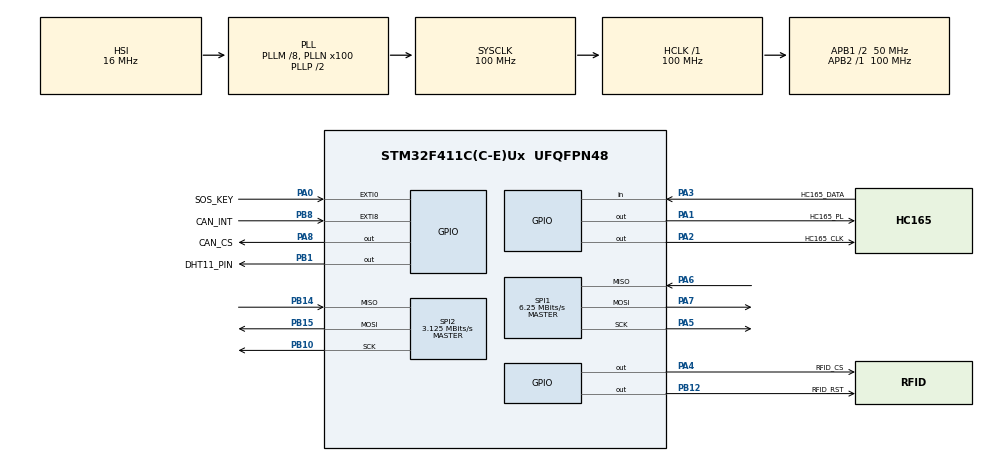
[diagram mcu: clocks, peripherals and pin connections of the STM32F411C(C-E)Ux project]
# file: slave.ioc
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FREERTOS.BinarySemaphores01=sosSem,Dynamic,NULL,Available
FREERTOS.Mutexes01=canSpiMutex,Dynamic,NULL,Available
FREERTOS.Tasks01=SOS_Alert,48,256,StartSosAlertTask,Default,NULL,Dynamic,NULL,NULL;Seat_Read,32,384,StartSeatReadTask,Default,NULL,Dynamic,NULL,NULL;RFID_Read,24,512,StartRfidTask,Default,NULL,Dynamic,NULL,NULL;DHT11_Read,16,256,StartDht11Task,Default,NULL,Dynamic,NULL,NULL;Heartbeat_Send,8,256,StartHeartbeatTask,Default,NULL,Dynamic,NULL,NULL
FREERTOS.configTOTAL_HEAP_SIZE=\ 20480
Mcu.Family=STM32F4
Mcu.Name=STM32F411C(C-E)Ux
Mcu.Package=UFQFPN48
NVIC.EXTI0_IRQn=true\:5\:0\:false\:false\:true\:true\:true\:true\:true
NVIC.EXTI9_5_IRQn=true\:5\:0\:false\:false\:true\:true\:true\:true\:true
NVIC.PriorityGroup=NVIC_PRIORITYGROUP_4
NVIC.TIM1_UP_TIM10_IRQn=true\:15\:0\:false\:false\:true\:false\:false\:true\:true
NVIC.TimeBase=TIM1_UP_TIM10_IRQn
NVIC.TimeBaseIP=TIM1
PA0-WKUP.GPIO_Label=SOS_KEY
PA0-WKUP.GPIO_ModeDefaultEXTI=GPIO_MODE_IT_FALLING
PA0-WKUP.GPIO_PuPd=GPIO_PULLUP
PA0-WKUP.Signal=GPXTI0
PA1.GPIO_Label=HC165_PL
PA1.Signal=GPIO_Output
PA13.Mode=Serial_Wire
PA13.Signal=SYS_JTMS-SWDIO
PA14.Mode=Serial_Wire
PA14.Signal=SYS_JTCK-SWCLK
PA2.GPIO_Label=HC165_CLK
PA2.Signal=GPIO_Output
PA3.GPIO_Label=HC165_DATA
PA3.GPIO_PuPd=GPIO_PULLUP
PA3.Signal=GPIO_Input
PA4.GPIO_Label=RFID_CS
PA4.PinState=GPIO_PIN_SET
PA4.Signal=GPIO_Output
PA5.Mode=Full_Duplex_Master
PA5.Signal=SPI1_SCK
PA6.Mode=Full_Duplex_Master
PA6.Signal=SPI1_MISO
PA7.Mode=Full_Duplex_Master
PA7.Signal=SPI1_MOSI
PA8.GPIO_Label=CAN_CS
PA8.GPIO_Speed=GPIO_SPEED_FREQ_VERY_HIGH
PA8.PinState=GPIO_PIN_SET
PA8.Signal=GPIO_Output
PB1.GPIO_Label=DHT11_PIN
PB1.GPIO_PuPd=GPIO_PULLUP
PB1.Signal=GPIO_Output
PB10.Mode=Full_Duplex_Master
PB10.Signal=SPI2_SCK
PB12.GPIO_Label=RFID_RST
PB12.PinState=GPIO_PIN_SET
PB12.Signal=GPIO_Output
PB14.Mode=Full_Duplex_Master
PB14.Signal=SPI2_MISO
PB15.Mode=Full_Duplex_Master
PB15.Signal=SPI2_MOSI
PB8.GPIO_Label=CAN_INT
PB8.GPIO_ModeDefaultEXTI=GPIO_MODE_IT_FALLING
PB8.GPIO_PuPd=GPIO_PULLUP
PB8.Signal=GPXTI8
PH0\ -\ OSC_IN.Mode=HSE-External-Oscillator
PH0\ -\ OSC_IN.Signal=RCC_OSC_IN
PH1\ -\ OSC_OUT.Mode=HSE-External-Oscillator
PH1\ -\ OSC_OUT.Signal=RCC_OSC_OUT
ProjectManager.HeapSize=0x200
ProjectManager.StackSize=0x400
ProjectManager.TargetToolchain=CMake
RCC.48MHZClocksFreq_Value=50000000
RCC.AHBFreq_Value=100000000
RCC.APB1CLKDivider=RCC_HCLK_DIV2
RCC.APB1Freq_Value=50000000
RCC.APB1TimFreq_Value=100000000
RCC.APB2Freq_Value=100000000
RCC.APB2TimFreq_Value=100000000
RCC.CortexFreq_Value=100000000
RCC.HCLKFreq_Value=100000000
RCC.HSE_VALUE=25000000
RCC.HSI_VALUE=16000000
RCC.LSE_VALUE=32768
RCC.PLLM=8
RCC.PLLN=100
RCC.SYSCLKFreq_VALUE=100000000
RCC.SYSCLKSource=RCC_SYSCLKSOURCE_PLLCLK
RCC.VCOOutputFreq_Value=200000000
SPI1.BaudRatePrescaler=SPI_BAUDRATEPRESCALER_16
SPI1.CalculateBaudRate=6.25 MBits/s
SPI1.Direction=SPI_DIRECTION_2LINES
SPI1.Mode=SPI_MODE_MASTER
SPI1.VirtualType=VM_MASTER
SPI2.BaudRatePrescaler=SPI_BAUDRATEPRESCALER_16
SPI2.CalculateBaudRate=3.125 MBits/s
SPI2.Direction=SPI_DIRECTION_2LINES
SPI2.Mode=SPI_MODE_MASTER
SPI2.VirtualType=VM_MASTER
VP_FREERTOS_VS_CMSIS_V2.Mode=CMSIS_V2
VP_SYS_VS_tim1.Mode=TIM1
board=custom

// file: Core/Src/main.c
/* USER CODE BEGIN Header */
/**
  ******************************************************************************
  * @file           : main.c
  * @brief          : Main program body
  ******************************************************************************
  * @attention
  *
  * Copyright (c) 2026 STMicroelectronics.
  * All rights reserved.
  *
  * This software is licensed under terms that can be found in the LICENSE file
  * in the root directory of this software component.
  * If no LICENSE file comes with this software, it is provided AS-IS.
  *
  ******************************************************************************
  */
/* USER CODE END Header */
#include "main.h"
#include "cmsis_os.h"
#include "spi.h"
#include "gpio.h"

void SystemClock_Config(void);
void MX_FREERTOS_Init(void);

int main(void)
{

  /* MCU Configuration--------------------------------------------------------*/

  /* Reset of all peripherals, Initializes the Flash interface and the Systick. */
  HAL_Init();

  /* Configure the system clock */
  SystemClock_Config();

  /* Initialize all configured peripherals */
  MX_GPIO_Init();
  MX_SPI1_Init();
  MX_SPI2_Init();

  /* Init scheduler */
  osKernelInitialize();  /* Call init function for freertos objects (in cmsis_os2.c) */
  MX_FREERTOS_Init();

  /* Start scheduler */
  osKernelStart();

  /* We should never get here as control is now taken by the scheduler */

  /* Infinite loop */
  while (1)
  {

  }
}

void SystemClock_Config(void)
{
  RCC_OscInitTypeDef RCC_OscInitStruct = {0};
  RCC_ClkInitTypeDef RCC_ClkInitStruct = {0};

  /** Configure the main internal regulator output voltage
  */
  __HAL_RCC_PWR_CLK_ENABLE();
  __HAL_PWR_VOLTAGESCALING_CONFIG(PWR_REGULATOR_VOLTAGE_SCALE1);

  /** Initializes the RCC Oscillators according to the specified parameters
  * in the RCC_OscInitTypeDef structure.
  */
  RCC_OscInitStruct.OscillatorType = RCC_OSCILLATORTYPE_HSI;
  RCC_OscInitStruct.HSIState = RCC_HSI_ON;
  RCC_OscInitStruct.HSICalibrationValue = RCC_HSICALIBRATION_DEFAULT;
  RCC_OscInitStruct.PLL.PLLState = RCC_PLL_ON;
  RCC_OscInitStruct.PLL.PLLSource = RCC_PLLSOURCE_HSI;
  RCC_OscInitStruct.PLL.PLLM = 8;
  RCC_OscInitStruct.PLL.PLLN = 100;
  RCC_OscInitStruct.PLL.PLLP = RCC_PLLP_DIV2;
  RCC_OscInitStruct.PLL.PLLQ = 4;
  if (HAL_RCC_OscConfig(&RCC_OscInitStruct) != HAL_OK)
  {
    Error_Handler();
  }

  /** Initializes the CPU, AHB and APB buses clocks
  */
  RCC_ClkInitStruct.ClockType = RCC_CLOCKTYPE_HCLK|RCC_CLOCKTYPE_SYSCLK
                              |RCC_CLOCKTYPE_PCLK1|RCC_CLOCKTYPE_PCLK2;
  RCC_ClkInitStruct.SYSCLKSource = RCC_SYSCLKSOURCE_PLLCLK;
  RCC_ClkInitStruct.AHBCLKDivider = RCC_SYSCLK_DIV1;
  RCC_ClkInitStruct.APB1CLKDivider = RCC_HCLK_DIV2;
  RCC_ClkInitStruct.APB2CLKDivider = RCC_HCLK_DIV1;

  if (HAL_RCC_ClockConfig(&RCC_ClkInitStruct, FLASH_LATENCY_3) != HAL_OK)
  {
    Error_Handler();
  }
}

void HAL_TIM_PeriodElapsedCallback(TIM_HandleTypeDef *htim)
{
  if (htim->Instance == TIM1)
  {
    HAL_IncTick();
  }
}

void Error_Handler(void)
{
  __disable_irq();
  while (1)
  {
  }
}

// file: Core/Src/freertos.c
/* USER CODE BEGIN Header */
/**
  ******************************************************************************
  * File Name          : freertos.c
  * Description        : FreeRTOS implementation for STM32 Unified Slave Node
  ******************************************************************************
  * @attention
  *
  * Copyright (c) 2026 STMicroelectronics.
  * All rights reserved.
  *
  ******************************************************************************
  */
/* USER CODE END Header */

#include "FreeRTOS.h"
#include "task.h"
#include "main.h"
#include "cmsis_os.h"

/* USER CODE BEGIN Includes */
#include "spi.h"
#include "MCP2515.h"
#include "RC522.h"
#include "hc165.h"
#include "dht11.h"
#include <string.h>
/* USER CODE END Includes */

/* Definitions for SOS_Alert */
osThreadId_t SOS_AlertHandle;
const osThreadAttr_t SOS_Alert_attributes = {
  .name = "SOS_Alert",
  .stack_size = 256 * 4,
  .priority = (osPriority_t) osPriorityRealtime,
};
/* Definitions for Seat_Read */
osThreadId_t Seat_ReadHandle;
const osThreadAttr_t Seat_Read_attributes = {
  .name = "Seat_Read",
  .stack_size = 384 * 4,
  .priority = (osPriority_t) osPriorityAboveNormal,
};
/* Definitions for RFID_Read */
osThreadId_t RFID_ReadHandle;
const osThreadAttr_t RFID_Read_attributes = {
  .name = "RFID_Read",
  .stack_size = 512 * 4,
  .priority = (osPriority_t) osPriorityNormal,
};
/* Definitions for DHT11_Read */
osThreadId_t DHT11_ReadHandle;
const osThreadAttr_t DHT11_Read_attributes = {
  .name = "DHT11_Read",
  .stack_size = 256 * 4,
  .priority = (osPriority_t) osPriorityBelowNormal,
};
/* Definitions for Heartbeat_Send */
osThreadId_t Heartbeat_SendHandle;
const osThreadAttr_t Heartbeat_Send_attributes = {
  .name = "Heartbeat_Send",
  .stack_size = 256 * 4,
  .priority = (osPriority_t) osPriorityLow,
};
/* Definitions for canSpiMutex */
osMutexId_t canSpiMutexHandle;
const osMutexAttr_t canSpiMutex_attributes = {
  .name = "canSpiMutex"
};
/* Definitions for sosSem */
osSemaphoreId_t sosSemHandle;
const osSemaphoreAttr_t sosSem_attributes = {
  .name = "sosSem"
};

/* USER CODE BEGIN FunctionPrototypes */
// Thread-safe CAN transmit protected by canSpiMutex
static uint8_t Slave_SendCAN_Safe(CAN_Message_t *msg, uint32_t timeout_ms) {
  uint8_t res = 0;
  if (osMutexAcquire(canSpiMutexHandle, timeout_ms) == osOK) {
    res = MCP2515_SendCANMessage(msg);
    osMutexRelease(canSpiMutexHandle);
  }
  return res;
}

// EXTI callback: triggers immediately when SOS button (PA0) is pressed
void HAL_GPIO_EXTI_Callback(uint16_t GPIO_Pin) {
  if (GPIO_Pin == SOS_KEY_Pin) {
    osSemaphoreRelease(sosSemHandle);
  }
}
/* USER CODE END FunctionPrototypes */

void StartSosAlertTask(void *argument);
void StartSeatReadTask(void *argument);
void StartRfidTask(void *argument);
void StartDht11Task(void *argument);
void StartHeartbeatTask(void *argument);

void MX_FREERTOS_Init(void); /* (MISRA C 2004 rule 8.1) */

void MX_FREERTOS_Init(void) {
  /* Create the mutex(es) */
  /* creation of canSpiMutex */
  canSpiMutexHandle = osMutexNew(&canSpiMutex_attributes);

  /* Create the semaphores(s) */
  /* creation of sosSem */
  sosSemHandle = osSemaphoreNew(1, 0, &sosSem_attributes); // Initial 0 tokens

  /* Create the thread(s) */
  /* creation of SOS_Alert */
  SOS_AlertHandle = osThreadNew(StartSosAlertTask, NULL, &SOS_Alert_attributes);

  /* creation of Seat_Read */
  Seat_ReadHandle = osThreadNew(StartSeatReadTask, NULL, &Seat_Read_attributes);

  /* creation of RFID_Read */
  RFID_ReadHandle = osThreadNew(StartRfidTask, NULL, &RFID_Read_attributes);

  /* creation of DHT11_Read */
  DHT11_ReadHandle = osThreadNew(StartDht11Task, NULL, &DHT11_Read_attributes);

  /* creation of Heartbeat_Send */
  Heartbeat_SendHandle = osThreadNew(StartHeartbeatTask, NULL, &Heartbeat_Send_attributes);

}

/* USER CODE BEGIN Header_StartSosAlertTask */
/**
  * @brief  Function implementing the SOS_Alert thread.
  *         Wakes immediately on EXTI interrupt, sends CAN ID 0x100.
  * @param  argument: Not used
  * @retval None
  */
/* USER CODE END Header_StartSosAlertTask */
void StartSosAlertTask(void *argument)
{
  /* USER CODE BEGIN StartSosAlertTask */
  uint8_t sos_active = 0;
  CAN_Message_t sos_msg;
  sos_msg.id = 0x100;
  sos_msg.dlc = 1;

  for(;;)
  {
    if (!sos_active)
    {
      // 1. Trạng thái chờ: Đợi sự kiện nhấn nút từ ISR
      if (osSemaphoreAcquire(sosSemHandle, osWaitForever) == osOK)
      {
        osDelay(50); // Software debounce chống dội phím
        if (HAL_GPIO_ReadPin(SOS_KEY_GPIO_Port, SOS_KEY_Pin) == GPIO_PIN_RESET)
        {
          uint8_t triggered = 0;
          uint32_t press_start = xTaskGetTickCount();

          // Kiểm tra Điều kiện 1: Nhấn GIỮ LÂU liên tục >= 3 giây (3000ms)
          while (HAL_GPIO_ReadPin(SOS_KEY_GPIO_Port, SOS_KEY_Pin) == GPIO_PIN_RESET)
          {
            osDelay(50);
            if ((xTaskGetTickCount() - press_start) >= pdMS_TO_TICKS(3000))
            {
              triggered = 1; // Đã giữ liên tục đủ 3 giây -> KÍCH HOẠT!
              break;
            }
          }

          // Nếu nhả nút ra trước 3 giây: Kiểm tra Điều kiện 2 (Trẻ hoảng loạn spam liên tục >= 3 lần trong 2.5s)
          if (!triggered)
          {
            uint8_t click_count = 1; // Đã ghi nhận 1 lần nhấn đầu tiên
            uint32_t window_start = xTaskGetTickCount();

            while ((xTaskGetTickCount() - window_start) < pdMS_TO_TICKS(2500))
            {
              uint32_t elapsed = xTaskGetTickCount() - window_start;
              uint32_t remaining = (pdMS_TO_TICKS(2500) > elapsed) ? (pdMS_TO_TICKS(2500) - elapsed) : 1;

              if (osSemaphoreAcquire(sosSemHandle, remaining) == osOK)
              {
                osDelay(40); // Debounce
                if (HAL_GPIO_ReadPin(SOS_KEY_GPIO_Port, SOS_KEY_Pin) == GPIO_PIN_RESET)
                {
                  uint32_t sub_press = xTaskGetTickCount();
                  // Nếu trong lúc spam lại chuyển sang giữ lâu >= 3s
                  while (HAL_GPIO_ReadPin(SOS_KEY_GPIO_Port, SOS_KEY_Pin) == GPIO_PIN_RESET)
                  {
                    osDelay(50);
                    if ((xTaskGetTickCount() - sub_press) >= pdMS_TO_TICKS(3000))
                    {
                      triggered = 1;
                      break;
                    }
                  }

                  if (triggered) break;

                  click_count++;
                  if (click_count >= 3)
                  {
                    triggered = 1; // Nhấn dồn dập >= 3 lần -> KÍCH HOẠT KHẨN CẤP!
                    break;
                  }
                }
              }
            }
          }

          // Xử lý khi thỏa mãn điều kiện kích hoạt SOS:
          if (triggered)
          {
            sos_active = 1;
            sos_msg.data[0] = 0x01; // SOS Active
            Slave_SendCAN_Safe(&sos_msg, 200);

            // Chờ nhả nút hoàn toàn
            while (HAL_GPIO_ReadPin(SOS_KEY_GPIO_Port, SOS_KEY_Pin) == GPIO_PIN_RESET)
            {
              osDelay(20);
            }
            while (osSemaphoreAcquire(sosSemHandle, 0) == osOK);
          }
          else
          {
            // Bấm nhầm thoáng qua (< 3s và < 3 lần) -> Bỏ qua, xóa token thừa
            while (osSemaphoreAcquire(sosSemHandle, 0) == osOK);
          }
        }
      }
    }
    else
    {
      // 2. Trạng thái SOS đang kích hoạt: Còi kêu liên tục dồn dập (150ms BẬT / 100ms TẮT)
      //    Để HỦY BÁO ĐỘNG (tắt còi): Người lớn nhấn giữ nút >= 1.5 giây
      HAL_GPIO_WritePin(BUZZER_GPIO_Port, BUZZER_Pin, GPIO_PIN_SET);
      if (osSemaphoreAcquire(sosSemHandle, 150) == osOK)
      {
        osDelay(50);
        if (HAL_GPIO_ReadPin(SOS_KEY_GPIO_Port, SOS_KEY_Pin) == GPIO_PIN_RESET)
        {
          uint32_t cancel_start = xTaskGetTickCount();
          uint8_t cancel_ok = 0;
          while (HAL_GPIO_ReadPin(SOS_KEY_GPIO_Port, SOS_KEY_Pin) == GPIO_PIN_RESET)
          {
            osDelay(50);
            if ((xTaskGetTickCount() - cancel_start) >= pdMS_TO_TICKS(1500))
            {
              cancel_ok = 1;
              break;
            }
          }
          if (cancel_ok)
          {
            sos_active = 0;
            HAL_GPIO_WritePin(BUZZER_GPIO_Port, BUZZER_Pin, GPIO_PIN_RESET);
            CAN_Message_t cancel_msg;
            cancel_msg.id = 0x101; // F3: CAN 0x101 (Hủy SOS)
            cancel_msg.dlc = 1;
            cancel_msg.data[0] = 0x00;
            Slave_SendCAN_Safe(&cancel_msg, 200);

            while (HAL_GPIO_ReadPin(SOS_KEY_GPIO_Port, SOS_KEY_Pin) == GPIO_PIN_RESET)
            {
              osDelay(20);
            }
            while (osSemaphoreAcquire(sosSemHandle, 0) == osOK);
            continue;
          }
        }
      }

      HAL_GPIO_WritePin(BUZZER_GPIO_Port, BUZZER_Pin, GPIO_PIN_RESET);
      if (osSemaphoreAcquire(sosSemHandle, 100) == osOK)
      {
        osDelay(50);
        if (HAL_GPIO_ReadPin(SOS_KEY_GPIO_Port, SOS_KEY_Pin) == GPIO_PIN_RESET)
        {
          uint32_t cancel_start = xTaskGetTickCount();
          uint8_t cancel_ok = 0;
          while (HAL_GPIO_ReadPin(SOS_KEY_GPIO_Port, SOS_KEY_Pin) == GPIO_PIN_RESET)
          {
            osDelay(50);
            if ((xTaskGetTickCount() - cancel_start) >= pdMS_TO_TICKS(1000))
            {
              cancel_ok = 1;
              break;
            }
          }
          if (cancel_ok)
          {
            sos_active = 0;
            HAL_GPIO_WritePin(BUZZER_GPIO_Port, BUZZER_Pin, GPIO_PIN_RESET);
            CAN_Message_t cancel_msg;
            cancel_msg.id = 0x101; // F3: CAN 0x101 (Hủy SOS)
            cancel_msg.dlc = 1;
            cancel_msg.data[0] = 0x00;
            Slave_SendCAN_Safe(&cancel_msg, 200);

            while (HAL_GPIO_ReadPin(SOS_KEY_GPIO_Port, SOS_KEY_Pin) == GPIO_PIN_RESET)
            {
              osDelay(20);
            }
            while (osSemaphoreAcquire(sosSemHandle, 0) == osOK);
            continue;
          }
        }
      }
    }
  }
  /* USER CODE END StartSosAlertTask */
}

/* USER CODE BEGIN Header_StartSeatReadTask */
/**
* @brief Function implementing the Seat_Read thread.
*        Reads 16 seats via 2x 74HC165 every 100ms.
*        Implements 10-second debounce logic according to spec section 2.5.
*        Transmits CAN ID 0x120 on state change and every 2 seconds.
* @param argument: Not used
* @retval None
*/
/* USER CODE END Header_StartSeatReadTask */
void StartSeatReadTask(void *argument)
{
  /* USER CODE BEGIN StartSeatReadTask */
  HC165_Init();
  osDelay(500);

  CAN_Message_t seat_msg;
  seat_msg.id = 0x120;
  seat_msg.dlc = 2;

  uint16_t debounced_map = 0;
  TickType_t last_periodic_tx = 0;

  for(;;)
  {
    uint8_t state_changed = HC165_UpdateDebounce(&debounced_map);
    TickType_t now = xTaskGetTickCount();

    // Send CAN frame if state changed OR every 2 seconds periodically
    if (state_changed || (now - last_periodic_tx >= pdMS_TO_TICKS(2000)))
    {
      last_periodic_tx = now;
      seat_msg.data[0] = (uint8_t)((debounced_map >> 8) & 0xFF);
      seat_msg.data[1] = (uint8_t)(debounced_map & 0xFF);
      Slave_SendCAN_Safe(&seat_msg, 100);
    }

    osDelay(100);
  }
  /* USER CODE END StartSeatReadTask */
}

/* USER CODE BEGIN Header_StartRfidTask */
/**
* @brief Function implementing the RFID_Read thread.
*        Polls single RC522 reader on SPI2 (used for both Students and Attendants).
*        Transmits 4-byte card UID via CAN ID 0x200 upon successful swipe.
* @param argument: Not used
* @retval None
*/
/* USER CODE END Header_StartRfidTask */
void StartRfidTask(void *argument)
{
  /* USER CODE BEGIN StartRfidTask */
  TM_MFRC522_Init();
  osDelay(500);

  uint8_t card_id[5];
  CAN_Message_t rfid_msg;
  rfid_msg.id = 0x200;
  rfid_msg.dlc = 5;

  uint32_t last_scan_tick = 0;

  for(;;)
  {
    // Check if card is present at the reader
    if (TM_MFRC522_Check(card_id) == MI_OK)
    {
      // F2: Chống đọc lặp tại Slave — chỉ gửi CAN 0x200 nếu cách lần gửi trước > 2500ms
      uint32_t now = HAL_GetTick();
      if (now - last_scan_tick > 2500)
      {
        memcpy(rfid_msg.data, card_id, 5);
        if (Slave_SendCAN_Safe(&rfid_msg, 200) == HAL_OK)
        {
          last_scan_tick = now;
        }
      }

      // Cooldown
      osDelay(500);
    }

    osDelay(100);
  }
  /* USER CODE END StartRfidTask */
}

/* USER CODE BEGIN Header_StartDht11Task */
/**
* @brief Function implementing the DHT11_Read thread.
*        Reads temperature and humidity every 5 seconds.
*        Transmits CAN ID 0x210.
* @param argument: Not used
* @retval None
*/
/* USER CODE END Header_StartDht11Task */
void StartDht11Task(void *argument)
{
  /* USER CODE BEGIN StartDht11Task */
  DHT11_Init();
  osDelay(1000);

  DHT11_Data_t dht;
  CAN_Message_t dht_msg;
  dht_msg.id = 0x210;
  dht_msg.dlc = 4;

  for(;;)
  {
    if (!DHT11_Read(&dht))
    {
      // Fallback default readings (25.0 C, 50.0%)
      dht.temp_int = 25;
      dht.temp_dec = 0;
      dht.hum_int  = 50;
      dht.hum_dec  = 0;
    }

    dht_msg.data[0] = dht.temp_int;
    dht_msg.data[1] = dht.temp_dec;
    dht_msg.data[2] = dht.hum_int;
    dht_msg.data[3] = dht.hum_dec;

    Slave_SendCAN_Safe(&dht_msg, 200);

    osDelay(5000);
  }
  /* USER CODE END StartDht11Task */
}

/* USER CODE BEGIN Header_StartHeartbeatTask */
/**
* @brief Function implementing the Heartbeat_Send thread.
*        Transmits periodic heartbeat CAN ID 0x220 every 1.5 seconds
*        so Master can monitor connection liveness.
* @param argument: Not used
* @retval None
*/
/* USER CODE END Header_StartHeartbeatTask */
void StartHeartbeatTask(void *argument)
{
  /* USER CODE BEGIN StartHeartbeatTask */
  // Initialize MCP2515 CAN controller on SPI1
  MCP2515_Init(&hspi1, CAN_CS_GPIO_Port, CAN_CS_Pin);
  osDelay(1000);

  CAN_Message_t hb_msg;
  hb_msg.id = 0x220;
  hb_msg.dlc = 7;
  memcpy(hb_msg.data, "SLV_ALV", 7);

  for(;;)
  {
    Slave_SendCAN_Safe(&hb_msg, 200);
    osDelay(1500);
  }
  /* USER CODE END StartHeartbeatTask */
}
